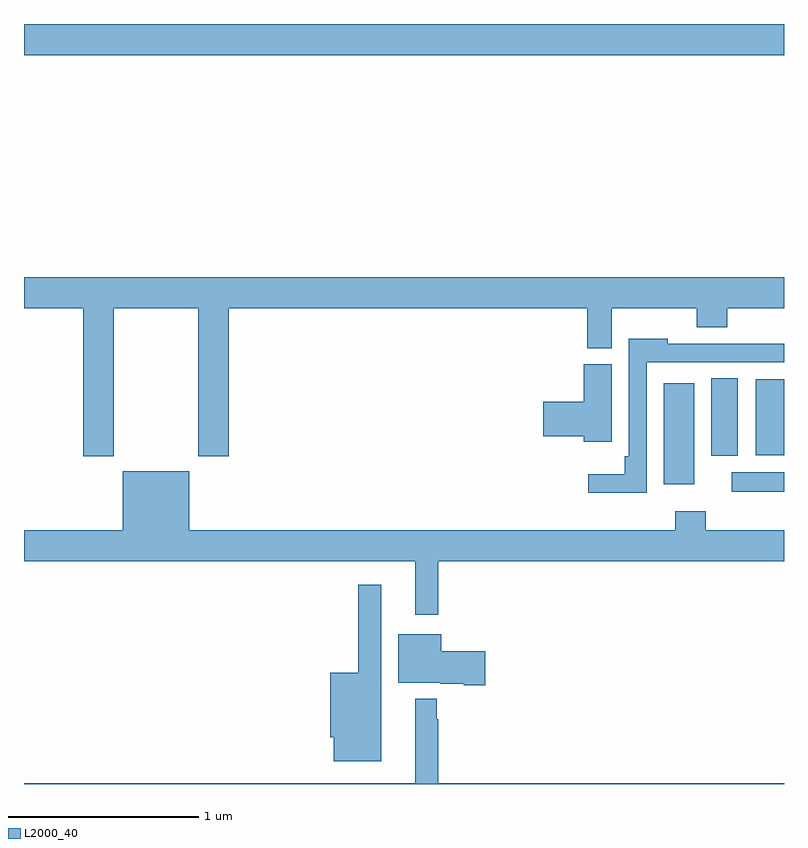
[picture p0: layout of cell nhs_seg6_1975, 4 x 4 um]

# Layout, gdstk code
import gdstk
lib = gdstk.Library(unit=1e-6, precision=1e-09)
def R(c, l, rs):  # rectangles x0, y0, x1, y1
    for r in rs: c.add(gdstk.rectangle(r[:2], r[2:], *l))
def P(c, l, *ps):  # polygons
    for p in ps: c.add(gdstk.Polygon(p, *l))
L2000_40 = (2000, 40)

nhs_seg6_1975 = lib.new_cell('nhs_seg6_1975')
R(nhs_seg6_1975, L2000_40, [(232.725,945.038,233,945.142), (232.367,945.078,232.528,945.61), (232.616,945.227,232.756,945.635), (232.85,945.23,233,945.631), (229,947.336,233,947.5)])
P(nhs_seg6_1975, L2000_40, [(229.473,946.004),(229.918,946.004),(229.918,945.225),(230.078,945.225),(230.078,946.004),(231.965,946.004),(231.965,945.793),(232.093,945.793),(232.093,946.004),(232.54,946.004),(232.54,945.905),(232.7,945.905),(232.7,946.004),(233,946.004),(233,946.168),(229,946.168),(229,946.004),(229.313,946.004),(229.313,945.225),(229.473,945.225)],
  [(232.278,945.72),(233,945.72),(233,945.818),(232.783,945.818),(232.783,945.816),(232.389,945.816),(232.389,945.844),(232.182,945.844),(232.182,945.226),(232.162,945.226),(232.162,945.13),(231.969,945.13),(231.969,945.032),(232.278,945.032)],
  [(232.093,945.708),(231.947,945.708),(231.947,945.512),(231.732,945.512),(231.732,945.329),(231.947,945.329),(231.947,945.302),(232.093,945.302)],
  [(231.181,944.672),(233,944.672),(233,944.836),(232.587,944.836),(232.587,944.935),(232.427,944.935),(232.427,944.836),(229.87,944.836),(229.87,945.145),(229.52,945.145),(229.52,944.836),(229,944.836),(229,944.672),(231.059,944.672),(231.059,944.391),(231.181,944.391)],
  [(230.881,944.548),(230.76,944.548),(230.76,944.086),(230.612,944.086),(230.612,943.746),(230.63,943.746),(230.63,943.619),(230.881,943.619)],
  [(231.427,944.199),(231.196,944.199),(231.196,944.287),(230.969,944.287),(230.969,944.033),(231.192,944.033),(231.192,944.027),(231.314,944.027),(231.314,944.021),(231.427,944.021)],
  [(229,943.5),(233,943.5),(233,943.504),(231.181,943.504),(231.181,943.841),(231.173,943.841),(231.173,943.948),(231.059,943.948),(231.059,943.504),(229,943.504)])

lib.write_gds('nhs_seg6_1975.gds')
